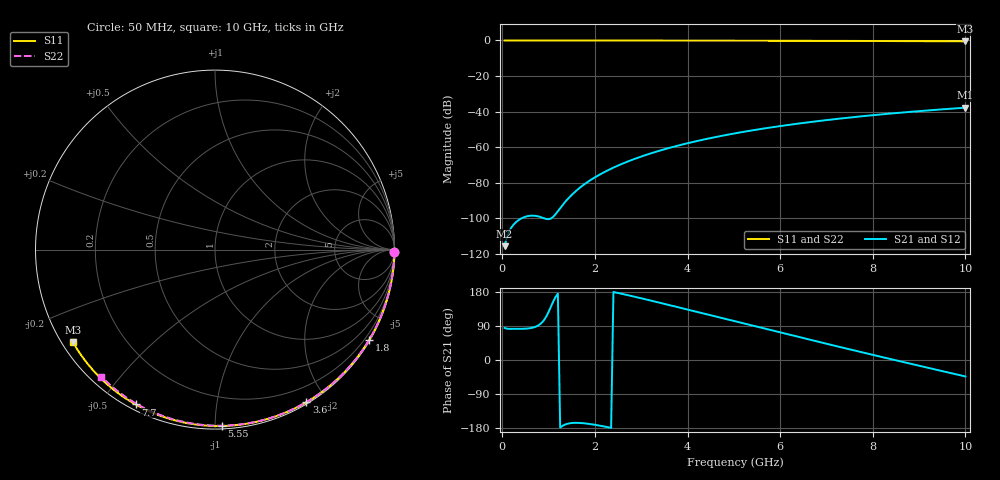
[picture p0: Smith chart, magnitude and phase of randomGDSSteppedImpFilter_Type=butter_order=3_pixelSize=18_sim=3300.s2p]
! freq	dB(S11)	phase(S11)	dB(S12)	phase(S12)
!  dB(S21)	phase(S21)	dB(S22)	phase(S22)
!S-par simulation data
#  GHz  S  DB  R 50
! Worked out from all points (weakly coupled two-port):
!   200 points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, 50 MHz to 10 GHz, reference 50 ohm
!   highest |S21| = -37.82 dB at 10 GHz (marker M1); lowest = -115.7 dB at 50 MHz (marker M2)
!   lowest |S11| = -0.5 dB at 10 GHz (marker M3), VSWR 35.03, Z = 1.55 - j14.8 ohm
!   |S11| at or under -10 dB: nowhere
!   |S22| runs from -0.4 to 0.0 dB; largest |S21 - S12| = 0
!   S11 on the Smith chart (normalised r, x): 50 MHz: open; 1.8 GHz: 0.03, -3.69; 3.6 GHz: 0.02, -1.77; 5.55 GHz: 0.02, -1.04; 7.7 GHz: 0.02, -0.61; 10 GHz: 0.03, -0.30
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0.05  -0.00 -0.9  -115.73 84.7  -115.73 84.7  -0.00 -0.8
0.45  -0.01 -7.7  -99.64 82.4  -99.64 82.4  -0.01 -6.9
0.9  -0.02 -15.3  -100.03 105.1  -100.03 105.1  -0.02 -13.6
1.3  -0.03 -22.0  -92.67 -173.8  -92.67 -173.8  -0.02 -19.6
1.75  -0.04 -29.5  -81.34 -166.8  -81.34 -166.8  -0.03 -26.3
1.8  -0.04 -30.3  -80.39 -167.5  -80.39 -167.5  -0.03 -27.0
1.85  -0.04 -31.1  -79.49 -168.2  -79.49 -168.2  -0.04 -27.7
2.05  -0.04 -34.4  -76.23 -172.0  -76.23 -172.0  -0.04 -30.7
2.2  -0.05 -36.8  -74.10 -175.4  -74.10 -175.4  -0.04 -32.9
2.55  -0.05 -42.5  -69.80 175.5  -69.80 175.5  -0.05 -37.9
2.95  -0.06 -48.9  -65.76 164.3  -65.76 164.3  -0.06 -43.7
3.4  -0.07 -56.0  -61.98 151.1  -61.98 151.1  -0.07 -50.0
3.6  -0.08 -59.0  -60.49 145.1  -60.49 145.1  -0.07 -52.8
4.3  -0.10 -69.7  -56.02 124.0  -56.02 124.0  -0.09 -62.4
5.05  -0.12 -80.7  -52.14 101.2  -52.14 101.2  -0.11 -72.4
5.55  -0.14 -87.9  -49.94 86.1  -49.94 86.1  -0.13 -78.9
6.1  -0.17 -95.6  -47.80 69.6  -47.80 69.6  -0.15 -85.9
6.7  -0.20 -103.8  -45.74 51.7  -45.74 51.7  -0.18 -93.3
7.7  -0.27 -117.2  -42.82 22.3  -42.82 22.3  -0.24 -105.3
8.35  -0.32 -125.7  -41.20 3.5  -41.20 3.5  -0.29 -112.9
9.2  -0.40 -136.7  -39.34 -20.8  -39.34 -20.8  -0.36 -122.7
10  -0.50 -147.0  -37.82 -43.4  -37.82 -43.4  -0.45 -131.8
